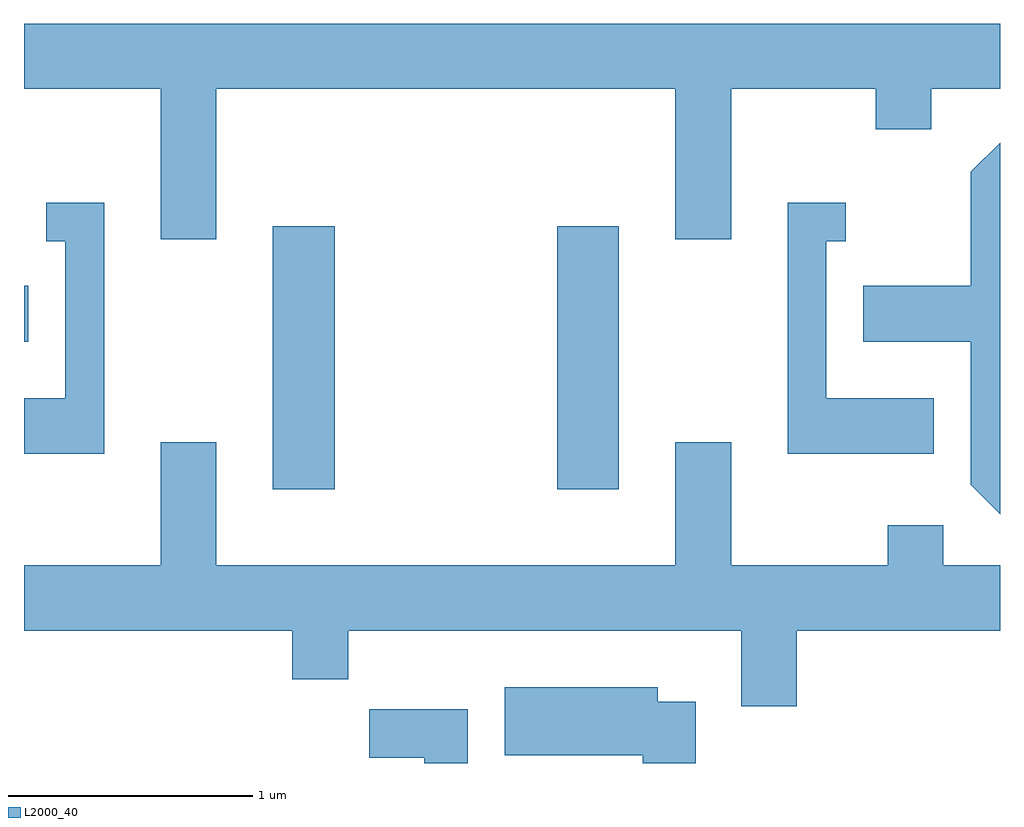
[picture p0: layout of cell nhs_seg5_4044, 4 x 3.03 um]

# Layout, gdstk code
import gdstk
lib = gdstk.Library(unit=1e-6, precision=1e-09)
def R(c, l, rs):  # rectangles x0, y0, x1, y1
    for r in rs: c.add(gdstk.rectangle(r[:2], r[2:], *l))
def P(c, l, *ps):  # polygons
    for p in ps: c.add(gdstk.Polygon(p, *l))
L2000_40 = (2000, 40)

nhs_seg5_4044 = lib.new_cell('nhs_seg5_4044')
R(nhs_seg5_4044, L2000_40, [(306.631,1415.196,306.884,1416.274), (307.796,1415.196,308.049,1416.274), (305.611,1415.801,305.629,1416.029)])
P(nhs_seg5_4044, L2000_40, [(306.399,1416.836),(308.281,1416.836),(308.281,1416.221),(308.509,1416.221),(308.509,1416.836),(309.101,1416.836),(309.101,1416.671),(309.329,1416.671),(309.329,1416.836),(309.611,1416.836),(309.611,1417.104),(305.611,1417.104),(305.611,1416.836),(306.171,1416.836),(306.171,1416.221),(306.399,1416.221)],
  [(309.611,1416.616),(309.491,1416.497),(309.491,1416.029),(309.051,1416.029),(309.051,1415.801),(309.491,1415.801),(309.491,1415.214),(309.611,1415.094)],
  [(305.939,1416.369),(305.703,1416.369),(305.703,1416.211),(305.781,1416.211),(305.781,1415.569),(305.611,1415.569),(305.611,1415.341),(305.939,1415.341)],
  [(309.339,1415.569),(308.899,1415.569),(308.899,1416.211),(308.978,1416.211),(308.978,1416.369),(308.741,1416.369),(308.741,1415.341),(309.339,1415.341)],
  [(308.779,1414.616),(309.611,1414.616),(309.611,1414.884),(309.379,1414.884),(309.379,1415.049),(309.151,1415.049),(309.151,1414.884),(308.509,1414.884),(308.509,1415.389),(308.281,1415.389),(308.281,1414.884),(306.399,1414.884),(306.399,1415.389),(306.171,1415.389),(306.171,1414.884),(305.611,1414.884),(305.611,1414.616),(306.711,1414.616),(306.711,1414.416),(306.939,1414.416),(306.939,1414.616),(308.551,1414.616),(308.551,1414.306),(308.779,1414.306)],
  [(308.364,1414.324),(308.209,1414.324),(308.209,1414.384),(307.581,1414.384),(307.581,1414.106),(308.146,1414.106),(308.146,1414.072),(308.364,1414.072)],
  [(307.429,1414.294),(307.026,1414.294),(307.026,1414.096),(307.251,1414.096),(307.251,1414.072),(307.429,1414.072)])

lib.write_gds('nhs_seg5_4044.gds')
